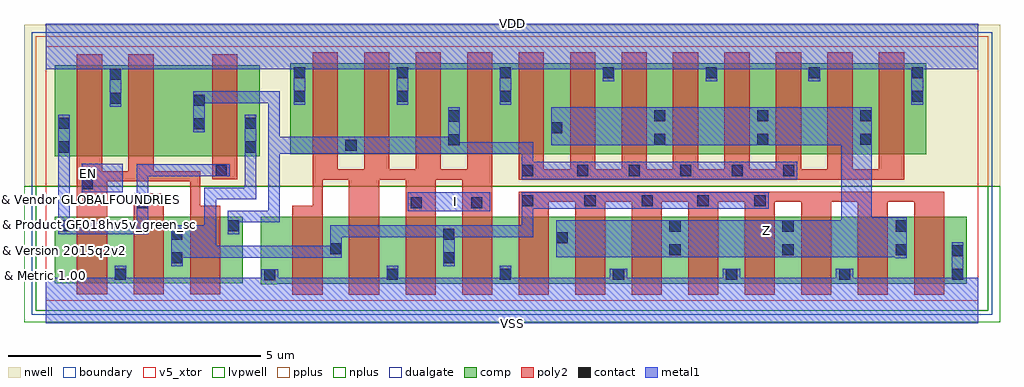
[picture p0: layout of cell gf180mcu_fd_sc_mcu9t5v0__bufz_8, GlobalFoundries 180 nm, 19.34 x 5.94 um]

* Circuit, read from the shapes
.subckt gf180mcu_fd_sc_mcu9t5v0__bufz_8 EN I VDD VSS Z
XM1 VSS EN n1 VSUBS nfet_05v0 w=1.32u l=0.6u
XM2 n2 n1 VSS VSUBS nfet_05v0 w=1.32u l=0.6u
XM3 n3 EN n2 VSUBS nfet_05v0 w=1.32u l=0.6u
XM4 n2 I VSS VSUBS nfet_05v0 w=1.32u l=0.6u m=4
XM5 Z n2 VSS VSUBS nfet_05v0 w=1.32u l=0.6u m=8
XM6 VDD EN n1 n4 pfet_05v0 w=1.8u l=0.5u
XM7 n3 EN VDD n4 pfet_05v0 w=1.8u l=0.5u
XM8 n2 n1 n3 n4 pfet_05v0 w=1.8u l=0.5u
XM9 n3 I VDD n4 pfet_05v0 w=1.8u l=0.5u m=4
XM10 Z n3 VDD n4 pfet_05v0 w=1.8u l=0.5u m=8
.ends

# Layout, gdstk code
import gdstk
lib = gdstk.Library(unit=1e-6, precision=1e-09)
def R(c, l, rs):  # rectangles x0, y0, x1, y1
    for r in rs: c.add(gdstk.rectangle(r[:2], r[2:], *l))
def A(c, l, x, y, w, h, nx, ny, dx, dy):  # array of equal rectangles
    R(c, l, [(x+i*dx, y+j*dy, x+i*dx+w, y+j*dy+h) for i in range(nx) for j in range(ny)])
def P(c, l, *ps):  # polygons
    for p in ps: c.add(gdstk.Polygon(p, *l))
boundary = (0, 0)
nwell = (21, 0)
comp = (22, 0)
poly2 = (30, 0)
pplus = (31, 0)
nplus = (32, 0)
contact = (33, 0)
metal1 = (34, 0)
dualgate = (55, 0)
v5_xtor = (112, 1)
lvpwell = (204, 0)

gf180mcu_fd_sc_mcu9t5v0_ = lib.new_cell('gf180mcu_fd_sc_mcu9t5v0__bufz_8')
R(gf180mcu_fd_sc_mcu9t5v0_, boundary, [(0,0,18.48,5.04)])
R(gf180mcu_fd_sc_mcu9t5v0_, nwell, [(-0.43,2.265,18.91,5.47)])
R(gf180mcu_fd_sc_mcu9t5v0_, comp, [(0.18,0.345,3.9,1.665), (0.18,2.865,4.24,4.665), (4.85,2.9,17.45,4.7)])
P(gf180mcu_fd_sc_mcu9t5v0_, comp, [(4.26,0.33),(4.26,1.66),(18.25,1.66),(18.25,0.34),(4.59,0.34),(4.59,0.33)])
R(gf180mcu_fd_sc_mcu9t5v0_, poly2, [(1.74,0.125,2.34,2.125), (3.3,2.405,3.8,4.885)])
P(gf180mcu_fd_sc_mcu9t5v0_, poly2, [(0.62,0.125),(0.62,4.885),(1.12,4.885),(1.12,2.565),(1.64,2.565),(1.64,4.885),(2.14,4.885),(2.14,2.565),(3.06,2.565),(3.06,1.885),(3.46,1.885),(3.46,0.125),(2.86,0.125),(2.86,2.365),(1.22,2.365),(1.22,0.125)],
  [(4.89,0.12),(4.89,1.88),(5.29,1.88),(5.29,4.92),(5.79,4.92),(5.79,2.6),(6.31,2.6),(6.31,4.92),(6.81,4.92),(6.81,2.6),(7.33,2.6),(7.33,4.92),(7.83,4.92),(7.83,2.6),(8.35,2.6),(8.35,4.92),(8.85,4.92),(8.85,0.12),(8.25,0.12),(8.25,2.4),(7.73,2.4),(7.73,0.12),(7.13,0.12),(7.13,2.4),(6.61,2.4),(6.61,0.12),(6.01,0.12),(6.01,2.4),(5.49,2.4),(5.49,0.12)],
  [(9.37,2.4),(9.37,4.92),(9.87,4.92),(9.87,2.6),(10.39,2.6),(10.39,4.92),(10.89,4.92),(10.89,2.6),(11.41,2.6),(11.41,4.92),(11.91,4.92),(11.91,2.6),(12.43,2.6),(12.43,4.92),(12.93,4.92),(12.93,2.6),(13.45,2.6),(13.45,4.92),(13.95,4.92),(13.95,2.6),(14.47,2.6),(14.47,4.92),(14.97,4.92),(14.97,2.6),(15.49,2.6),(15.49,4.92),(15.99,4.92),(15.99,2.6),(16.51,2.6),(16.51,4.92),(17.01,4.92),(17.01,2.4)],
  [(9.37,0.12),(9.37,2.16),(17.81,2.16),(17.81,0.12),(17.21,0.12),(17.21,1.96),(16.69,1.96),(16.69,0.12),(16.09,0.12),(16.09,1.96),(15.57,1.96),(15.57,0.12),(14.97,0.12),(14.97,1.96),(14.45,1.96),(14.45,0.12),(13.85,0.12),(13.85,1.96),(13.33,1.96),(13.33,0.12),(12.73,0.12),(12.73,1.96),(12.21,1.96),(12.21,0.12),(11.61,0.12),(11.61,1.96),(11.09,1.96),(11.09,0.12),(10.49,0.12),(10.49,1.96),(9.97,1.96),(9.97,0.12)])
R(gf180mcu_fd_sc_mcu9t5v0_, pplus, [(-0.2,2.265,18.68,5.24)])
R(gf180mcu_fd_sc_mcu9t5v0_, nplus, [(-0.2,-0.2,18.68,2.265)])
A(gf180mcu_fd_sc_mcu9t5v0_, contact, 6.76, 0.41, 0.22, 0.22, 6, 1, 2.24, 0)
A(gf180mcu_fd_sc_mcu9t5v0_, contact, 12.36, 0.9, 0.22, 0.22, 3, 2, 2.24, 0.47)
A(gf180mcu_fd_sc_mcu9t5v0_, contact, 10.53, 2.47, 0.22, 0.22, 3, 1, 1.02, 0)
A(gf180mcu_fd_sc_mcu9t5v0_, contact, 12.06, 3.085, 0.22, 0.22, 3, 2, 2.04, 0.47)
A(gf180mcu_fd_sc_mcu9t5v0_, contact, 4.92, 3.94, 0.22, 0.22, 3, 1, 2.04, 0)
A(gf180mcu_fd_sc_mcu9t5v0_, contact, 4.92, 4.41, 0.22, 0.22, 7, 1, 2.04, 0)
R(gf180mcu_fd_sc_mcu9t5v0_, contact, [(4.33,0.4,4.55,0.62), (1.37,0.415,1.59,0.635), (2.49,0.74,2.71,0.96), (7.88,0.74,8.1,0.96), (17.96,0.88,18.18,1.1), (5.64,0.915,5.86,1.135), (10.12,1.14,10.34,1.36), (2.49,1.21,2.71,1.43), (7.88,1.21,8.1,1.43), (0.25,1.375,0.47,1.595), (3.61,1.375,3.83,1.595), (7.235,1.83,7.455,2.05), (8.435,1.83,8.655,2.05), (1.81,1.835,2.03,2.055), (9.44,1.87,9.66,2.09), (10.675,1.87,10.895,2.09), (11.81,1.87,12.03,2.09), (12.915,1.87,13.135,2.09), (14.045,1.87,14.265,2.09), (0.715,2.21,0.935,2.43), (9.44,2.47,9.66,2.69), (13.595,2.47,13.815,2.69), (14.615,2.47,14.835,2.69), (3.37,2.475,3.59,2.695), (0.25,2.935,0.47,3.155), (3.95,2.935,4.17,3.155), (5.94,2.97,6.16,3.19), (7.98,3.08,8.2,3.3), (10.02,3.32,10.24,3.54), (2.93,3.395,3.15,3.615), (0.25,3.405,0.47,3.625), (3.95,3.405,4.17,3.625), (7.98,3.55,8.2,3.77), (2.93,3.865,3.15,4.085), (1.27,3.905,1.49,4.125), (17.16,3.94,17.38,4.16), (1.27,4.375,1.49,4.595)])
R(gf180mcu_fd_sc_mcu9t5v0_, metal1, [(7.175,1.77,8.81,2.15), (0.71,2.15,1.53,2.71)])
P(gf180mcu_fd_sc_mcu9t5v0_, metal1, [(0.245,1.315),(0.245,3.685),(0.475,3.685),(0.475,1.545),(1.805,1.545),(1.805,2.7),(3.65,2.7),(3.65,2.47),(2.035,2.47),(2.035,1.315)],
  [(2.485,0.68),(2.485,1.49),(3.145,1.49),(3.145,2.24),(3.945,2.24),(3.945,3.685),(4.175,3.685),(4.175,2.01),(3.375,2.01),(3.375,1.085),(5.635,1.085),(5.635,1.49),(9.435,1.49),(9.435,2.15),(14.325,2.15),(14.325,1.825),(9.665,1.825),(9.665,1.26),(8.105,1.26),(8.105,0.68),(7.875,0.68),(7.875,1.26),(5.865,1.26),(5.865,0.855),(2.715,0.855),(2.715,0.68)],
  [(3.605,1.315),(3.605,1.78),(4.405,1.78),(4.405,3.915),(3.155,3.915),(3.155,3.335),(2.925,3.335),(2.925,4.145),(4.635,4.145),(4.635,3.25),(7.975,3.25),(7.975,3.83),(8.205,3.83),(8.205,3.14),(9.665,3.14),(9.665,2.75),(14.895,2.75),(14.895,2.41),(9.435,2.41),(9.435,2.91),(4.635,2.91),(4.635,1.55),(3.835,1.55),(3.835,1.315)],
  [(16.835,0.84),(16.835,0.865),(10.115,0.865),(10.115,1.595),(15.76,1.595),(15.76,3.08),(10.015,3.08),(10.015,3.835),(16.365,3.835),(16.365,1.65),(17.065,1.65),(17.065,0.84)],
  [(0,-0.45),(0,0.45),(1.365,0.45),(1.365,0.695),(1.595,0.695),(1.595,0.45),(4.27,0.45),(4.27,0.625),(4.61,0.625),(4.61,0.45),(6.755,0.45),(6.755,0.69),(6.985,0.69),(6.985,0.45),(8.995,0.45),(8.995,0.69),(9.225,0.69),(9.225,0.45),(11.18,0.45),(11.18,0.635),(11.52,0.635),(11.52,0.45),(13.42,0.45),(13.42,0.635),(13.76,0.635),(13.76,0.45),(15.66,0.45),(15.66,0.635),(16,0.635),(16,0.45),(17.955,0.45),(17.955,1.16),(18.185,1.16),(18.185,0.45),(18.48,0.45),(18.48,-0.45)],
  [(1.265,3.845),(1.265,4.59),(0,4.59),(0,5.49),(18.48,5.49),(18.48,4.59),(17.385,4.59),(17.385,3.88),(17.155,3.88),(17.155,4.59),(15.345,4.59),(15.345,4.35),(15.115,4.35),(15.115,4.59),(13.305,4.59),(13.305,4.35),(13.075,4.35),(13.075,4.59),(11.265,4.59),(11.265,4.35),(11.035,4.35),(11.035,4.59),(9.225,4.59),(9.225,3.88),(8.995,3.88),(8.995,4.59),(7.185,4.59),(7.185,3.88),(6.955,3.88),(6.955,4.59),(5.145,4.59),(5.145,3.88),(4.915,3.88),(4.915,4.59),(1.495,4.59),(1.495,3.845)])
R(gf180mcu_fd_sc_mcu9t5v0_, dualgate, [(-0.28,-0.28,18.76,5.32)])
R(gf180mcu_fd_sc_mcu9t5v0_, v5_xtor, [(0,0,18.48,5.04)])
R(gf180mcu_fd_sc_mcu9t5v0_, lvpwell, [(-0.43,-0.43,18.91,2.265)])
gf180mcu_fd_sc_mcu9t5v0_.add(gdstk.Label('EN', (0.84,2.52), layer=34, texttype=10))
gf180mcu_fd_sc_mcu9t5v0_.add(gdstk.Label('I', (8.12,1.96), layer=34, texttype=10))
gf180mcu_fd_sc_mcu9t5v0_.add(gdstk.Label('VDD', (9.24,5.49), layer=34, texttype=10))
gf180mcu_fd_sc_mcu9t5v0_.add(gdstk.Label('VSS', (9.24,-0.45), layer=34, texttype=10))
gf180mcu_fd_sc_mcu9t5v0_.add(gdstk.Label('Z', (14.28,1.4), layer=34, texttype=10))
gf180mcu_fd_sc_mcu9t5v0_.add(gdstk.Label('& Vendor GLOBALFOUNDRIES', (0,2), layer=63, texttype=63))
gf180mcu_fd_sc_mcu9t5v0_.add(gdstk.Label('& Product GF018hv5v_green_sc9', (0,1.5), layer=63, texttype=63))
gf180mcu_fd_sc_mcu9t5v0_.add(gdstk.Label('& Version 2015q2v2', (0,1), layer=63, texttype=63))
gf180mcu_fd_sc_mcu9t5v0_.add(gdstk.Label('& Metric 1.00', (0,0.5), layer=63, texttype=63))

lib.write_gds('gf180mcu_fd_sc_mcu9t5v0__bufz_8.gds')
